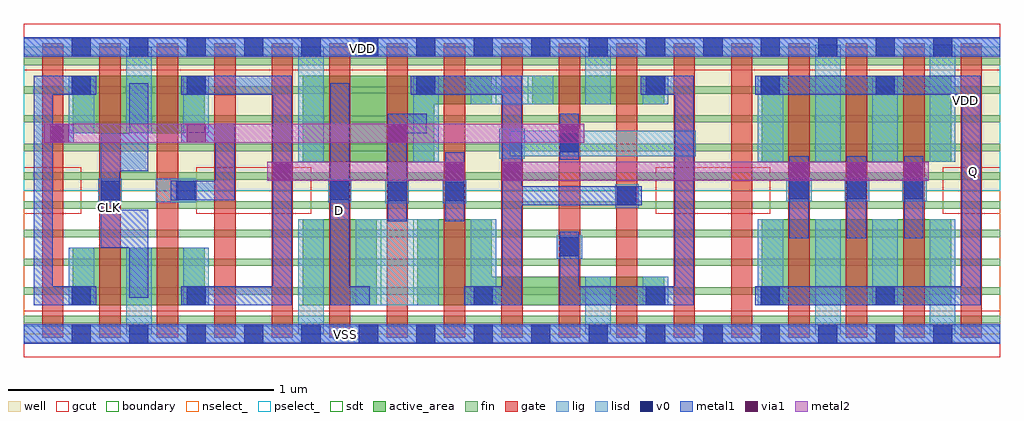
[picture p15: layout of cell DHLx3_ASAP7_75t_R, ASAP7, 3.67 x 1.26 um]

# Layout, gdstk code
import gdstk
lib = gdstk.Library(unit=1e-6, precision=2.5e-10)
def R(c, l, rs):  # rectangles x0, y0, x1, y1
    for r in rs: c.add(gdstk.rectangle(r[:2], r[2:], *l))
def A(c, l, x, y, w, h, nx, ny, dx, dy):  # array of equal rectangles
    R(c, l, [(x+i*dx, y+j*dy, x+i*dx+w, y+j*dy+h) for i in range(nx) for j in range(ny)])
def P(c, l, *ps):  # polygons
    for p in ps: c.add(gdstk.Polygon(p, *l))
well = (1, 0)
fin = (2, 0)
gate = (7, 0)
gcut = (10, 0)
active_area = (11, 0)
nselect_ = (12, 0)
pselect_ = (13, 0)
lig = (16, 0)
lisd = (17, 0)
v0 = (18, 0)
metal1 = (19, 0)
metal2 = (20, 0)
via1 = (21, 0)
sdt = (88, 0)
boundary = (100, 0)

dhlx3_asap7_75t_r = lib.new_cell('DHLx3_ASAP7_75t_R')
R(dhlx3_asap7_75t_r, well, [(0,0.54,3.672,1.08)])
A(dhlx3_asap7_75t_r, fin, 0, 0.04, 3.672, 0.028, 1, 10, 0, 0.108)
A(dhlx3_asap7_75t_r, gate, 0.068, -0.014, 0.08, 1.108, 17, 1, 0.216, 0)
R(dhlx3_asap7_75t_r, gcut, [(0,-0.088,3.672,0.088), (0,0.452,0.216,0.628), (0.648,0.452,1.08,0.628), (2.376,0.452,2.808,0.628), (3.456,0.452,3.672,0.628), (0,0.992,3.672,1.168)])
R(dhlx3_asap7_75t_r, active_area, [(0.184,0.108,0.68,0.324), (1.048,0.108,1.328,0.432), (2.776,0.108,3.488,0.432), (2.776,0.648,3.488,0.972), (0.184,0.756,0.68,0.972), (1.912,0.864,2.408,0.972)])
P(dhlx3_asap7_75t_r, active_area, [(1.48,0.108),(1.48,0.432),(1.76,0.432),(1.76,0.216),(2.408,0.216),(2.408,0.108)],
  [(1.048,0.648),(1.048,0.972),(1.76,0.972),(1.76,0.864),(1.544,0.864),(1.544,0.648)])
R(dhlx3_asap7_75t_r, nselect_, [(0,0,3.672,0.54)])
R(dhlx3_asap7_75t_r, pselect_, [(0,0.54,3.672,1.08)])
R(dhlx3_asap7_75t_r, lig, [(0,-0.032,3.672,0.032), (2.004,0.284,2.1,0.372), (2.224,0.476,2.312,0.564), (1.36,0.492,1.448,0.58), (1.576,0.492,1.664,0.58), (0.28,0.496,0.368,0.584), (0.496,0.496,0.648,0.584), (1.144,0.496,1.232,0.584), (2.868,0.5,2.964,0.588), (3.088,0.5,3.18,0.588), (3.304,0.5,3.396,0.588), (1.788,0.66,1.884,0.772), (0,1.048,3.672,1.112)])
R(dhlx3_asap7_75t_r, lisd, [(0.384,0,0.48,0.324), (1.032,0,1.128,0.432), (2.112,0,2.208,0.216), (2.976,0,3.072,0.432), (3.408,0,3.504,0.432), (0.168,0.108,0.264,0.324), (0.6,0.108,0.696,0.324), (1.248,0.108,1.56,0.432), (1.68,0.108,1.776,0.432), (2.328,0.108,2.424,0.216), (2.76,0.108,2.856,0.432), (3.192,0.108,3.288,0.432), (1.032,0.648,1.128,1.08), (1.464,0.648,1.56,0.972), (2.76,0.648,2.856,0.972), (2.976,0.648,3.072,1.088), (3.192,0.648,3.288,0.972), (3.408,0.648,3.504,1.088), (1.828,0.668,2.528,0.764), (0.168,0.756,0.264,0.972), (0.384,0.756,0.48,1.08), (0.6,0.756,0.696,0.972), (1.68,0.864,1.992,0.972), (2.112,0.864,2.208,1.08), (2.328,0.864,2.424,0.972)])
A(dhlx3_asap7_75t_r, v0, 0.18, -0.036, 0.072, 0.072, 16, 2, 0.216, 1.08)
A(dhlx3_asap7_75t_r, v0, 2.34, 0.108, 0.072, 0.072, 3, 1, 0.432, 0)
A(dhlx3_asap7_75t_r, v0, 2.88, 0.508, 0.072, 0.072, 3, 1, 0.216, 0)
A(dhlx3_asap7_75t_r, v0, 0.612, 0.9, 0.072, 0.072, 3, 1, 0.864, 0)
R(dhlx3_asap7_75t_r, v0, [(0.18,0.108,0.252,0.18), (0.612,0.108,0.684,0.18), (1.692,0.108,1.764,0.18), (2.016,0.292,2.088,0.364), (2.232,0.484,2.304,0.556), (1.368,0.5,1.44,0.572), (1.584,0.5,1.656,0.572), (0.288,0.504,0.36,0.576), (0.572,0.504,0.644,0.576), (1.152,0.504,1.224,0.576), (2.016,0.684,2.088,0.756), (0.18,0.9,0.252,0.972), (2.772,0.9,2.844,0.972), (3.204,0.9,3.276,0.972)])
A(dhlx3_asap7_75t_r, metal1, 2.88, 0.36, 0.072, 0.308, 3, 1, 0.216, 0)
R(dhlx3_asap7_75t_r, metal1, [(0,-0.036,3.672,0.036), (1.584,0.424,1.656,0.684), (2.016,0.656,2.088,0.828), (0,1.044,3.672,1.116)])
P(dhlx3_asap7_75t_r, metal1, [(2.752,0.108),(2.752,0.18),(3.528,0.18),(3.528,0.9),(2.752,0.9),(2.752,0.972),(3.6,0.972),(3.6,0.108)],
  [(2.016,0.108),(2.016,0.384),(2.088,0.384),(2.088,0.18),(2.448,0.18),(2.448,0.9),(2.32,0.9),(2.32,0.972),(2.52,0.972),(2.52,0.108)],
  [(1.656,0.108),(1.656,0.18),(1.8,0.18),(1.8,0.9),(1.456,0.9),(1.456,0.972),(1.872,0.972),(1.872,0.556),(2.324,0.556),(2.324,0.484),(1.872,0.484),(1.872,0.108)],
  [(1.368,0.424),(1.368,0.828),(1.516,0.828),(1.516,0.756),(1.44,0.756),(1.44,0.424)],
  [(1.152,0.108),(1.152,0.944),(1.224,0.944),(1.224,0.18),(1.3,0.18),(1.3,0.108)],
  [(0.592,0.108),(0.592,0.18),(0.936,0.18),(0.936,0.9),(0.592,0.9),(0.592,0.972),(1.008,0.972),(1.008,0.108)],
  [(0.036,0.108),(0.036,0.972),(0.272,0.972),(0.272,0.9),(0.108,0.9),(0.108,0.792),(0.188,0.792),(0.188,0.72),(0.108,0.72),(0.108,0.18),(0.272,0.18),(0.272,0.108)],
  [(0.396,0.136),(0.396,0.324),(0.288,0.324),(0.288,0.756),(0.396,0.756),(0.396,0.944),(0.468,0.944),(0.468,0.612),(0.36,0.612),(0.36,0.468),(0.468,0.468),(0.468,0.136)],
  [(0.552,0.504),(0.552,0.576),(0.72,0.576),(0.72,0.72),(0.592,0.72),(0.592,0.792),(0.792,0.792),(0.792,0.504)])
R(dhlx3_asap7_75t_r, metal2, [(0.916,0.576,1.656,0.648), (1.8,0.576,3.404,0.648), (0.076,0.72,2.108,0.792)])
A(dhlx3_asap7_75t_r, via1, 2.88, 0.576, 0.072, 0.072, 3, 1, 0.216, 0)
R(dhlx3_asap7_75t_r, via1, [(0.936,0.576,1.008,0.648), (1.584,0.576,1.656,0.648), (1.8,0.576,1.872,0.648), (0.096,0.72,0.168,0.792), (0.612,0.72,0.684,0.792), (1.368,0.72,1.44,0.792), (2.016,0.72,2.088,0.792)])
A(dhlx3_asap7_75t_r, sdt, 0.168, 0.108, 0.096, 0.216, 3, 2, 0.216, 0.648)
A(dhlx3_asap7_75t_r, sdt, 1.032, 0.108, 0.096, 0.324, 4, 1, 0.216, 0)
A(dhlx3_asap7_75t_r, sdt, 2.76, 0.108, 0.096, 0.324, 4, 2, 0.216, 0.54)
A(dhlx3_asap7_75t_r, sdt, 1.68, 0.864, 0.096, 0.108, 4, 1, 0.216, 0)
R(dhlx3_asap7_75t_r, sdt, [(2.112,0.108,2.208,0.216), (2.328,0.108,2.424,0.216), (1.032,0.648,1.128,0.972), (1.464,0.648,1.56,0.972)])
R(dhlx3_asap7_75t_r, boundary, [(0,0,3.672,1.08)])
dhlx3_asap7_75t_r.add(gdstk.Label('VDD', (1.272,1.076), layer=19, texttype=251))
dhlx3_asap7_75t_r.add(gdstk.Label('CLK', (0.32,0.476), layer=19, texttype=251))
dhlx3_asap7_75t_r.add(gdstk.Label('D', (1.188,0.466), layer=19, texttype=251))
dhlx3_asap7_75t_r.add(gdstk.Label('VSS', (1.208,0), layer=19, texttype=251))
dhlx3_asap7_75t_r.add(gdstk.Label('Q', (3.572,0.612), layer=19, texttype=251))
dhlx3_asap7_75t_r.add(gdstk.Label('VDD', (3.544,0.88), layer=1, texttype=251))
dhlx3_asap7_75t_r.add(gdstk.Label('VSS', (3.82,0.876), layer=3, texttype=251))

lib.write_gds('DHLx3_ASAP7_75t_R.gds')
